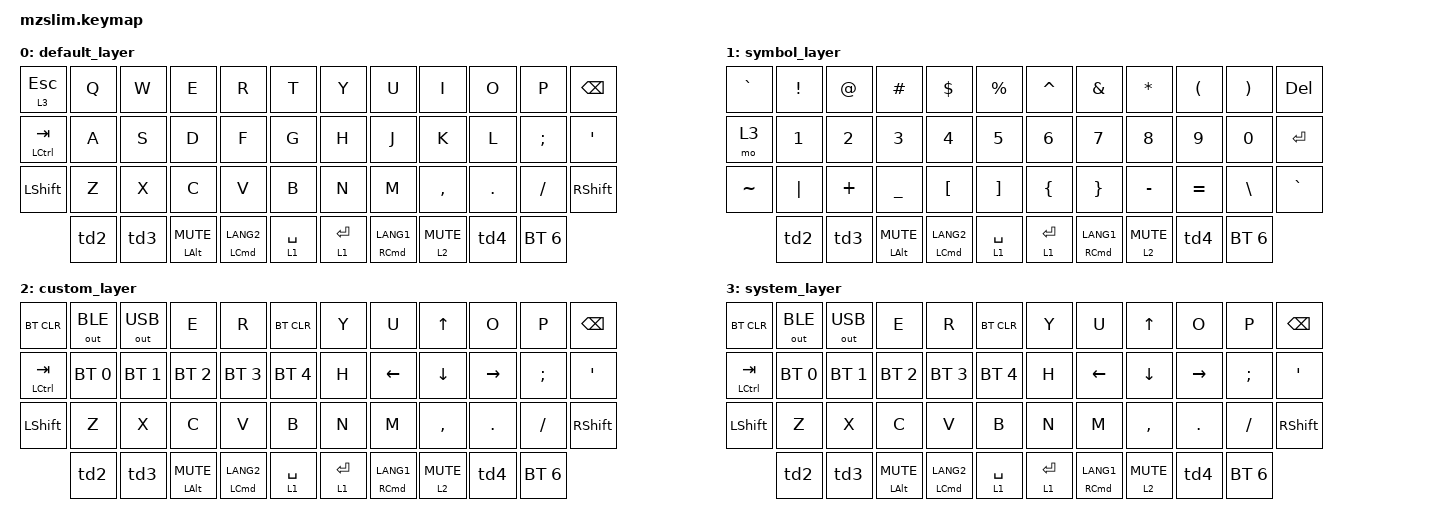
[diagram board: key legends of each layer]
#include <behaviors.dtsi>
#include <dt-bindings/zmk/keys.h>
#include <dt-bindings/zmk/bt.h>
#include <dt-bindings/zmk/outputs.h>

&mt {
    tapping-term-ms = <400>;
};

/ {
    behaviors {
        td0: tap_dance_0 {
            compatible = "zmk,behavior-tap-dance";
            tapping-term-ms = <200>;
            #binding-cells = <0>;
            bindings = <&kp TAB>, <&kp ESC>;
        };

        td1: tap_dance_1 {
            compatible = "zmk,behavior-tap-dance";
            tapping-term-ms = <200>;
            #binding-cells = <0>;
            bindings = <&kp SEMI>, <&kp SQT>;
        };

        td2: tap_dance_2 {
            compatible = "zmk,behavior-tap-dance";
            tapping-term-ms = <200>;
            #binding-cells = <0>;
            bindings = <&bt BT_SEL 0>, <&bt BT_SEL 1>, <&bt BT_SEL 2>;
        };

        td3: tap_dance_3 {
            compatible = "zmk,behavior-tap-dance";
            tapping-term-ms = <200>;
            #binding-cells = <0>;
            bindings = <&bt BT_SEL 3>, <&bt BT_SEL 4>, <&bt BT_SEL 5>;
        };

        td4: tap_dance_4 {
            compatible = "zmk,behavior-tap-dance";
            tapping-term-ms = <200>;
            #binding-cells = <0>;
            bindings = <&out OUT_BLE>, <&out OUT_USB>, <&bt BT_CLR>;
        };
    };

    keymap {
        compatible = "zmk,keymap";

        default_layer {
            bindings = <
            &lt 3 ESC        &kp Q   &kp W   &kp E   &kp R   &kp T     &kp Y   &kp U   &kp I   &kp O   &kp P  &kp BSPC
            &mt LCTRL TAB  &kp A   &kp S   &kp D   &kp F   &kp G     &kp H   &kp J   &kp K   &kp L   &kp SEMI  &kp SQT
            &kp LSHIFT &kp Z   &kp X   &kp C   &kp V   &kp B     &kp N   &kp M   &kp COMMA   &kp DOT   &kp SLASH  &kp RSHIFT
            &td2  &td3  &mt LALT C_MUTE  &mt LCMD LANG2   &lt 1 SPACE  &lt 1 ENTER  &mt RCMD LANG1  &lt 2 C_MUTE  &td4   &bt BT_SEL 6
            >;
        };

        symbol_layer {
            bindings = <
            &kp GRAVE     &kp EXCL   &kp AT   &kp HASH   &kp DOLLAR   &kp PERCENT     &kp CARET   &kp AMPERSAND   &kp ASTERISK   &kp LPAR   &kp RPAR  &kp DELETE 
            &mo 3   &kp N1   &kp N2   &kp N3   &kp N4   &kp N5     &kp N6   &kp N7   &kp N8   &kp N9   &kp N0  &kp ENTER
            &kp TILDE  &kp PIPE   &kp PLUS   &kp UNDER   &kp LBKT   &kp RBKT     &kp LBRC   &kp RBRC   &kp MINUS   &kp EQUAL   &kp BSLH  &kp GRAVE
            &td2  &td3  &mt LALT C_MUTE  &mt LCMD LANG2   &lt 1 SPACE  &lt 1 ENTER  &mt RCMD LANG1  &lt 2 C_MUTE  &td4   &bt BT_SEL 6
            >;
        };

        custom_layer {
            bindings = <
            &bt BT_CLR   &out OUT_BLE  &out OUT_USB   &kp E   &kp R   &bt BT_CLR     &kp Y   &kp U   &kp UP   &kp O   &kp P  &kp BSPC
            &mt LCTRL TAB &bt BT_SEL 0  &bt BT_SEL 1 &bt BT_SEL 2 &bt BT_SEL 3 &bt BT_SEL 4 &kp H   &kp LEFT   &kp DOWN   &kp RIGHT   &kp SEMI  &kp SQT
            &kp LSHIFT &kp Z   &kp X   &kp C   &kp V   &kp B     &kp N   &kp M   &kp COMMA   &kp DOT   &kp SLASH  &kp RSHIFT
            &td2  &td3  &mt LALT C_MUTE  &mt LCMD LANG2   &lt 1 SPACE  &lt 1 ENTER  &mt RCMD LANG1  &lt 2 C_MUTE  &td4   &bt BT_SEL 6
            >;
        };

        system_layer {
            bindings = <
            &bt BT_CLR   &out OUT_BLE  &out OUT_USB   &kp E   &kp R   &bt BT_CLR     &kp Y   &kp U   &kp UP   &kp O   &kp P  &kp BSPC
            &mt LCTRL TAB &bt BT_SEL 0  &bt BT_SEL 1 &bt BT_SEL 2 &bt BT_SEL 3 &bt BT_SEL 4 &kp H   &kp LEFT   &kp DOWN   &kp RIGHT   &kp SEMI  &kp SQT
            &kp LSHIFT &kp Z   &kp X   &kp C   &kp V   &kp B     &kp N   &kp M   &kp COMMA   &kp DOT   &kp SLASH  &kp RSHIFT
            &td2  &td3  &mt LALT C_MUTE  &mt LCMD LANG2   &lt 1 SPACE  &lt 1 ENTER  &mt RCMD LANG1  &lt 2 C_MUTE  &td4   &bt BT_SEL 6
            >;
        };


    };
};
